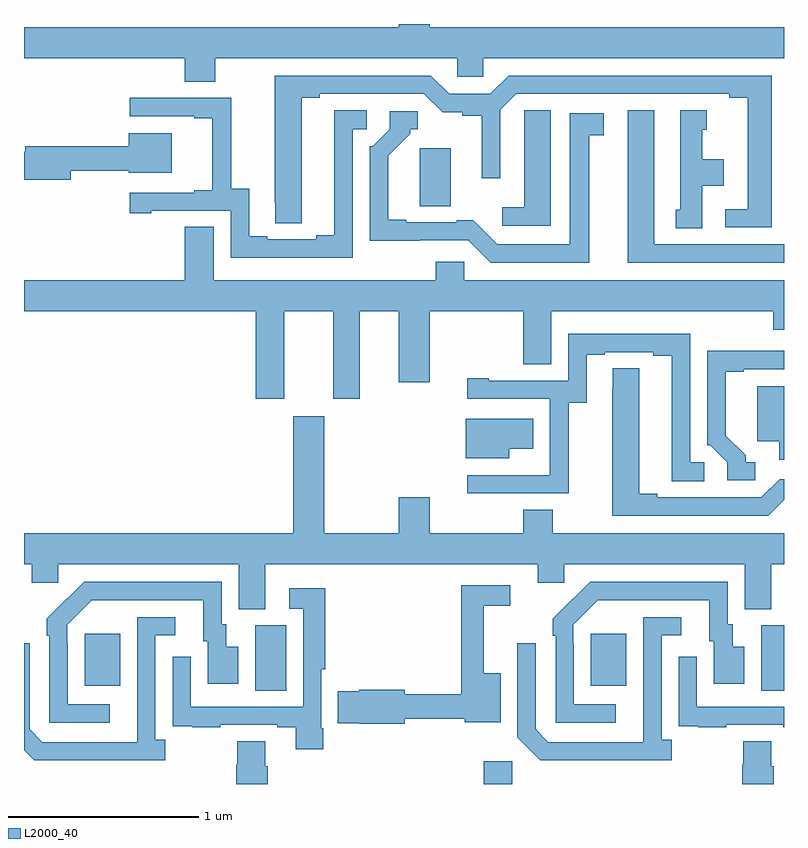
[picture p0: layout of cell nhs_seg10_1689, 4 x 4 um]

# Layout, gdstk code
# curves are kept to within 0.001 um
import gdstk
lib = gdstk.Library(unit=1e-6, precision=1e-09)
def R(c, l, rs):  # rectangles x0, y0, x1, y1
    for r in rs: c.add(gdstk.rectangle(r[:2], r[2:], *l))
def P(c, l, *ps):  # polygons
    for p in ps: c.add(gdstk.Polygon(p, *l))
L2000_40 = (2000, 40)

nhs_seg10_1689 = lib.new_cell('nhs_seg10_1689')
R(nhs_seg10_1689, L2000_40, [(201.419,1292.5,201.57,1292.62), (200.216,1292.992,200.38,1293.336), (202.88,1292.992,203,1293.336), (199.319,1293.017,199.507,1293.292), (201.983,1293.017,202.171,1293.292)])
P(nhs_seg10_1689, L2000_40, [(200.007,1296.32),(201.279,1296.32),(201.279,1296.222),(201.417,1296.222),(201.417,1296.32),(203,1296.32),(203,1296.484),(201.136,1296.484),(201.136,1296.5),(200.972,1296.5),(200.972,1296.484),(199,1296.484),(199,1296.32),(199.847,1296.32),(199.847,1296.196),(200.007,1296.196)],
  [(202.936,1296.228),(201.551,1296.228),(201.455,1296.132),(201.237,1296.132),(201.141,1296.228),(200.321,1296.228),(200.322,1295.452),(200.461,1295.452),(200.461,1296.112),(200.557,1296.112),(200.557,1296.132),(201.105,1296.132),(201.203,1296.035),(201.306,1296.035),(201.306,1296.016),(201.41,1296.016),(201.41,1295.688),(201.507,1295.688),(201.507,1296.048),(201.591,1296.132),(202.712,1296.132),(202.712,1296.112),(202.808,1296.112),(202.808,1295.526),(202.692,1295.526),(202.692,1295.43),(202.936,1295.43)],
  [(200.73,1295.946),(200.803,1295.946),(200.803,1296.047),(200.633,1296.047),(200.633,1295.387),(200.537,1295.387),(200.537,1295.367),(200.281,1295.367),(200.281,1295.382),(200.185,1295.382),(200.185,1295.633),(200.091,1295.633),(200.091,1296.111),(199.557,1296.111),(199.557,1296.015),(199.895,1296.015),(199.895,1296.003),(199.991,1296.003),(199.991,1295.626),(199.895,1295.626),(199.895,1295.613),(199.557,1295.613),(199.557,1295.505),(199.669,1295.505),(199.669,1295.517),(200.088,1295.517),(200.088,1295.271),(200.73,1295.271)],
  [(201.772,1296.047),(201.633,1296.047),(201.633,1295.939),(201.632,1295.939),(201.632,1295.536),(201.516,1295.536),(201.516,1295.439),(201.772,1295.439)],
  [(202.57,1295.648),(202.684,1295.648),(202.684,1295.788),(202.57,1295.788),(202.57,1295.943),(202.594,1295.943),(202.594,1296.046),(202.454,1296.046),(202.454,1295.523),(202.43,1295.523),(202.43,1295.425),(202.57,1295.425)],
  [(203,1295.34),(202.318,1295.34),(202.318,1296.046),(202.178,1296.046),(202.178,1295.244),(203,1295.244)],
  [(201.976,1295.914),(202.051,1295.914),(202.051,1296.03),(201.872,1296.03),(201.872,1295.34),(201.492,1295.34),(201.364,1295.468),(201.278,1295.468),(201.278,1295.457),(201.013,1295.457),(201.013,1295.47),(200.917,1295.47),(200.917,1295.806),(201.034,1295.923),(201.034,1295.946),(201.073,1295.946),(201.073,1296.042),(200.925,1296.042),(200.925,1295.946),(200.835,1295.856),(200.82,1295.856),(200.82,1295.36),(201.339,1295.361),(201.456,1295.244),(201.976,1295.244)],
  [(199.246,1295.728),(199.55,1295.728),(199.55,1295.717),(199.777,1295.717),(199.777,1295.926),(199.55,1295.926),(199.55,1295.857),(199.007,1295.857),(199.007,1295.828),(199,1295.828),(199,1295.681),(199.246,1295.681)],
  [(201.246,1295.7),(201.247,1295.7),(201.247,1295.845),(201.083,1295.845),(201.083,1295.542),(201.246,1295.542)],
  [(200.371,1294.988),(200.627,1294.988),(200.627,1294.527),(200.767,1294.527),(200.767,1294.988),(200.972,1294.988),(200.972,1294.614),(201.136,1294.614),(201.136,1294.988),(201.628,1294.988),(201.628,1294.708),(201.775,1294.708),(201.775,1294.988),(202.943,1294.988),(202.943,1294.89),(203,1294.89),(203,1295.152),(201.318,1295.152),(201.318,1295.25),(201.167,1295.25),(201.167,1295.152),(199.999,1295.152),(199.999,1295.432),(199.847,1295.432),(199.847,1295.152),(199,1295.152),(199,1294.988),(200.219,1294.988),(200.219,1294.527),(200.371,1294.527)],
  [(201.867,1294.507),(201.961,1294.507),(201.961,1294.758),(202.057,1294.758),(202.057,1294.773),(202.313,1294.773),(202.313,1294.753),(202.409,1294.753),(202.409,1294.093),(202.579,1294.093),(202.579,1294.194),(202.506,1294.194),(202.506,1294.869),(201.864,1294.869),(201.864,1294.623),(201.445,1294.623),(201.445,1294.636),(201.333,1294.636),(201.333,1294.527),(201.768,1294.527),(201.768,1294.126),(201.767,1294.126),(201.767,1294.125),(201.333,1294.125),(201.333,1294.029),(201.867,1294.029)],
  [(202.849,1294.194),(202.798,1294.194),(202.798,1294.229),(202.693,1294.334),(202.693,1294.671),(202.789,1294.671),(202.789,1294.683),(203,1294.683),(203,1294.779),(202.859,1294.779),(202.859,1294.781),(202.596,1294.781),(202.596,1294.284),(202.611,1294.284),(202.701,1294.194),(202.701,1294.098),(202.849,1294.098)],
  [(203,1293.995),(203,1294.104),(202.977,1294.104),(202.881,1294.008),(202.333,1294.008),(202.333,1294.028),(202.237,1294.028),(202.237,1294.688),(202.098,1294.688),(202.097,1293.912),(202.917,1293.912)],
  [(203,1294.594),(202.859,1294.594),(202.859,1294.304),(202.976,1294.304),(202.976,1294.206),(203,1294.206)],
  [(200.269,1293.656),(201.704,1293.656),(201.704,1293.558),(201.843,1293.558),(201.843,1293.656),(202.793,1293.656),(202.793,1293.421),(202.933,1293.421),(202.933,1293.656),(203,1293.656),(203,1293.82),(201.783,1293.82),(201.783,1293.944),(201.628,1293.944),(201.628,1293.82),(201.136,1293.82),(201.136,1294.009),(200.972,1294.009),(200.972,1293.82),(200.581,1293.82),(200.581,1294.435),(200.417,1294.435),(200.417,1293.82),(199,1293.82),(199,1293.656),(199.04,1293.656),(199.04,1293.558),(199.179,1293.558),(199.179,1293.656),(200.129,1293.656),(200.129,1293.421),(200.269,1293.421)],
  [(201.553,1294.265),(201.679,1294.265),(201.679,1294.423),(201.326,1294.423),(201.326,1294.214),(201.553,1294.214)],
  [(202.114,1292.919),(201.894,1292.919),(201.894,1293.239),(201.891,1293.239),(201.891,1293.339),(202.02,1293.468),(202.607,1293.468),(202.607,1293.252),(202.631,1293.252),(202.631,1293.027),(202.792,1293.027),(202.792,1293.223),(202.729,1293.223),(202.729,1293.342),(202.704,1293.342),(202.704,1293.564),(201.98,1293.564),(201.783,1293.369),(201.783,1293.281),(201.798,1293.281),(201.798,1292.823),(202.114,1292.823)],
  [(199.45,1292.919),(199.23,1292.919),(199.23,1293.239),(199.227,1293.239),(199.227,1293.339),(199.356,1293.468),(199.943,1293.468),(199.943,1293.252),(199.967,1293.252),(199.967,1293.027),(200.128,1293.027),(200.128,1293.223),(200.065,1293.223),(200.065,1293.342),(200.04,1293.342),(200.04,1293.564),(199.316,1293.564),(199.119,1293.369),(199.119,1293.281),(199.134,1293.281),(199.134,1292.823),(199.45,1292.823)],
  [(201.004,1292.844),(201.32,1292.844),(201.32,1292.825),(201.508,1292.825),(201.508,1293.082),(201.419,1293.082),(201.419,1293.438),(201.559,1293.438),(201.559,1293.546),(201.301,1293.546),(201.301,1292.972),(201.004,1292.972),(201.004,1292.996),(200.764,1292.996),(200.764,1292.987),(200.652,1292.987),(200.652,1292.82),(200.764,1292.82),(200.764,1292.818),(201.004,1292.818)],
  [(200.575,1292.794),(200.565,1292.794),(200.565,1293.105),(200.585,1293.105),(200.585,1293.529),(200.397,1293.529),(200.397,1293.423),(200.469,1293.423),(200.469,1292.907),(199.878,1292.907),(199.878,1293.169),(199.782,1293.169),(199.782,1292.914),(199.783,1292.914),(199.783,1292.805),(199.885,1292.805),(199.885,1292.799),(200.033,1292.799),(200.033,1292.811),(200.333,1292.811),(200.333,1292.799),(200.429,1292.799),(200.429,1292.682),(200.575,1292.682)],
  [(202.408,1292.734),(202.356,1292.734),(202.356,1293.282),(202.459,1293.282),(202.459,1293.378),(202.26,1293.378),(202.259,1292.721),(201.759,1292.721),(201.693,1292.787),(201.693,1293.241),(201.597,1293.241),(201.597,1292.745),(201.718,1292.624),(202.408,1292.624)],
  [(199.744,1292.734),(199.692,1292.734),(199.692,1293.282),(199.795,1293.282),(199.795,1293.378),(199.596,1293.378),(199.595,1292.721),(199.095,1292.721),(199.029,1292.787),(199.029,1293.241),(199,1293.241),(199,1292.678),(199.054,1292.624),(199.744,1292.624)],
  [(202.697,1292.811),(202.997,1292.811),(202.997,1292.799),(203,1292.799),(203,1292.907),(202.542,1292.907),(202.542,1293.169),(202.446,1293.169),(202.446,1292.914),(202.447,1292.914),(202.447,1292.805),(202.549,1292.805),(202.549,1292.799),(202.697,1292.799)],
  [(202.946,1292.594),(202.933,1292.594),(202.933,1292.726),(202.786,1292.726),(202.786,1292.601),(202.781,1292.601),(202.781,1292.5),(202.946,1292.5)],
  [(200.282,1292.594),(200.269,1292.594),(200.269,1292.726),(200.122,1292.726),(200.122,1292.601),(200.117,1292.601),(200.117,1292.5),(200.282,1292.5)])

lib.write_gds('nhs_seg10_1689.gds')
